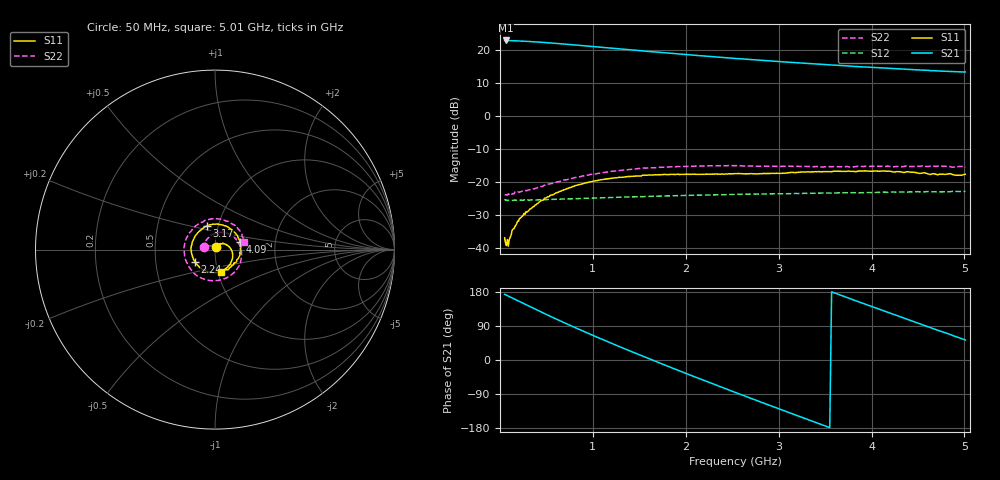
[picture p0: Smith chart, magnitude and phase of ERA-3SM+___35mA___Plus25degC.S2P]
! Mini-Circuits
! S2P DATA File Format
! Type: MMIC Amplifier
! Model: ERA-3SM  Reference Data: RDF-1128B
! Note: All S Parameters are in dB deg format
! TEST CONDITIONS: INPUT POWER = -25dBm, Icc = 35mA, Vd = 3.25V @Temperature = +25degC
! 401 Frequency points
# MHz S DB R 50
!  FREQ  dB(S11)  PHS(S11)  dB(S21)  PHS(S21)  dB(S12)  PHS(S12)  dB(S22)  PHS(S22)
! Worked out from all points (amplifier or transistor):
!   401 points, 50 MHz to 5.01 GHz, reference 50 ohm
!   highest |S21| = 23.0 dB at 60 MHz (marker M1)
!   |S21| within 3 dB of that: start of sweep to 1.467 GHz
!   unconditionally stable (mu >= 1): start of sweep to end of sweep
!   at 710 MHz: K = 1.06, MAG = 22.1 dB, |S12| = -25.2 dB
!   at 2.05 GHz: K = 1.15, MAG = 19.0 dB, |S12| = -24.1 dB
!   at 5.01 GHz: K = 1.61, MAG = 13.6 dB, |S12| = -22.9 dB
!   S11 on the Smith chart (normalised r, x): 50 MHz: 1.01, +0.03; 2.24 GHz: 0.79, -0.11; 3.17 GHz: 0.88, +0.23; 4.09 GHz: 1.31, +0.12; 5.01 GHz: 1.03, -0.27
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50  -37.00 62.7  22.97 173.3  -25.25 -3.1  -23.90 167.1
60  -38.57 44.5  22.98 172.1  -25.63 -3.6  -23.93 166.7
250  -30.21 60.0  22.73 149.3  -25.61 -13.9  -22.90 130.7
370  -27.45 47.7  22.56 135.1  -25.48 -20.7  -22.13 111.3
470  -25.39 38.8  22.39 123.5  -25.40 -26.8  -21.20 96.1
660  -22.76 19.2  21.95 102.0  -25.22 -37.9  -19.72 68.8
880  -20.66 -2.8  21.43 77.9  -25.06 -51.5  -18.28 40.7
1090  -19.32 -24.5  20.90 55.6  -24.84 -64.5  -17.25 15.7
1290  -18.57 -45.0  20.41 35.0  -24.68 -77.3  -16.58 -6.6
1500  -18.19 -67.4  19.89 13.7  -24.47 -91.0  -15.93 -28.1
1710  -17.82 -89.4  19.37 -7.1  -24.35 -104.7  -15.61 -50.0
1980  -17.70 -118.9  18.74 -33.2  -24.15 -122.5  -15.30 -76.4
2240  -17.67 -147.7  18.16 -58.1  -23.99 -139.9  -15.14 -101.5
2530  -17.51 -179.5  17.51 -85.2  -23.85 -159.2  -15.06 -129.9
2820  -17.56 147.8  16.92 -112.1  -23.67 -178.9  -15.21 -156.7
3170  -17.21 110.0  16.24 -144.0  -23.52 157.2  -15.31 169.9
3370  -16.97 88.4  15.87 -162.2  -23.48 144.1  -15.39 150.6
3710  -16.84 53.0  15.30 167.2  -23.29 120.8  -15.46 120.3
4090  -16.80 17.4  14.65 133.4  -23.22 94.8  -15.26 88.1
4190  -16.75 6.0  14.53 124.6  -23.15 88.0  -15.29 79.2
4570  -17.23 -29.7  13.95 91.1  -23.04 61.9  -15.23 49.6
5010  -17.67 -75.8  13.41 52.8  -22.87 32.4  -15.57 14.3
